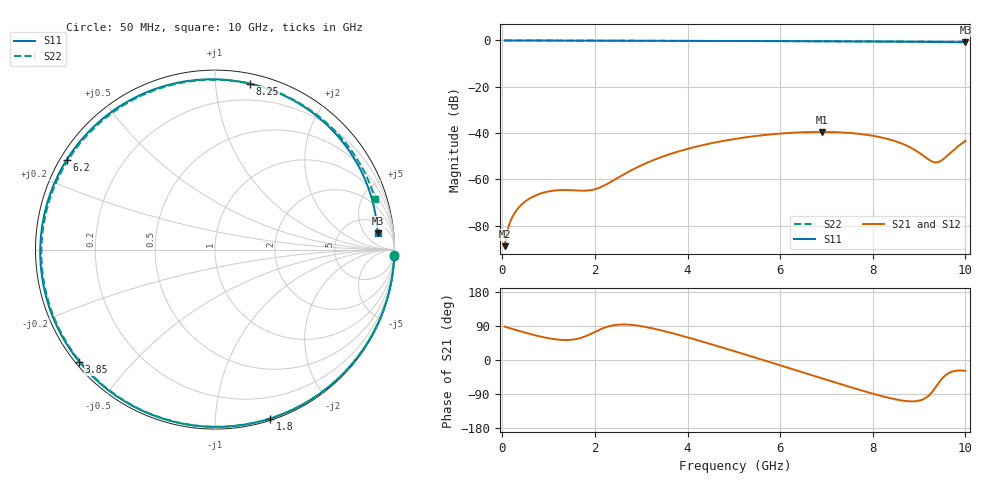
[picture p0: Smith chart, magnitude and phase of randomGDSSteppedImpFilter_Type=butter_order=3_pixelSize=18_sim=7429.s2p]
! freq	dB(S11)	phase(S11)	dB(S12)	phase(S12)
!  dB(S21)	phase(S21)	dB(S22)	phase(S22)
!S-par simulation data
#  GHz  S  DB  R 50
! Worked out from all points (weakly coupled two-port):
!   200 points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, 50 MHz to 10 GHz, reference 50 ohm
!   highest |S21| = -39.53 dB at 6.9 GHz (marker M1); lowest = -88.9 dB at 50 MHz (marker M2)
!   lowest |S11| = -0.8 dB at 10 GHz (marker M3), VSWR 21.41, Z = 503 + j533 ohm
!   |S11| at or under -10 dB: nowhere
!   |S22| runs from -0.6 to 0.0 dB; largest |S21 - S12| = 0
!   S11 on the Smith chart (normalised r, x): 50 MHz: 1, -54; 1.8 GHz: 0.01, -1.38; 3.85 GHz: 0.01, -0.36; 6.2 GHz: 0.02, +0.28; 8.25 GHz: 0.07, +1.23; 10 GHz: 10, +11
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0.05  -0.01 -2.1  -88.90 88.1  -88.90 88.1  -0.00 -1.7
0.15  -0.01 -6.3  -79.43 84.3  -79.43 84.3  -0.01 -5.0
0.4  -0.02 -16.7  -71.24 75.4  -71.24 75.4  -0.02 -13.3
0.7  -0.03 -29.1  -67.13 65.5  -67.13 65.5  -0.03 -23.3
1.15  -0.06 -47.1  -64.82 54.6  -64.82 54.6  -0.05 -38.0
1.75  -0.08 -70.1  -64.93 60.4  -64.93 60.4  -0.07 -57.2
1.8  -0.09 -72.0  -64.91 62.7  -64.91 62.7  -0.07 -58.8
2.1  -0.10 -82.9  -63.60 79.9  -63.60 79.9  -0.09 -68.2
2.55  -0.11 -98.6  -58.73 93.6  -58.73 93.6  -0.10 -82.0
3.4  -0.15 -126.5  -50.67 79.1  -50.67 79.1  -0.14 -107.5
3.85  -0.16 -140.5  -47.71 64.8  -47.71 64.8  -0.16 -120.8
5.05  -0.23 -176.4  -42.48 21.8  -42.48 21.8  -0.23 -156.2
6.2  -0.30 148.8  -39.96 -21.6  -39.96 -21.6  -0.32 168.0
6.7  -0.34 132.8  -39.56 -40.7  -39.56 -40.7  -0.36 151.3
6.9  -0.36 126.3  -39.53 -48.3  -39.53 -48.3  -0.38 144.4
7.6  -0.42 102.2  -40.15 -74.6  -40.15 -74.6  -0.43 118.7
8.25  -0.49 78.1  -42.20 -97.0  -42.20 -97.0  -0.48 92.9
8.35  -0.50 74.2  -42.71 -100.0  -42.71 -100.0  -0.48 88.8
8.85  -0.57 54.4  -46.67 -109.2  -46.67 -109.2  -0.51 67.6
9.35  -0.66 33.6  -52.71 -73.3  -52.71 -73.3  -0.53 45.8
9.5  -0.69 27.2  -51.65 -48.6  -51.65 -48.6  -0.54 39.3
10  -0.81 5.7  -43.44 -28.3  -43.44 -28.3  -0.57 17.4
